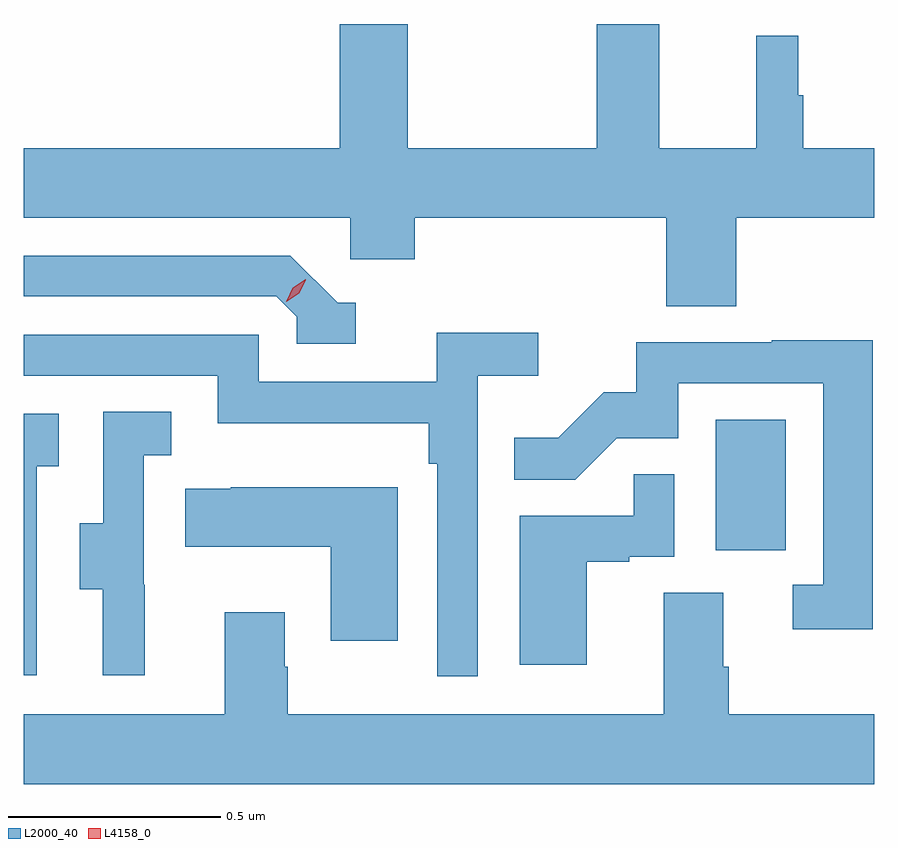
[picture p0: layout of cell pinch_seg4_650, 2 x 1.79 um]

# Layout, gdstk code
import gdstk
lib = gdstk.Library(unit=1e-6, precision=1e-09)
def R(c, l, rs):  # rectangles x0, y0, x1, y1
    for r in rs: c.add(gdstk.rectangle(r[:2], r[2:], *l))
def P(c, l, *ps):  # polygons
    for p in ps: c.add(gdstk.Polygon(p, *l))
L2000_40 = (2000, 40)
L4158_0 = (4158, 0)

pinch_seg4_650 = lib.new_cell('pinch_seg4_650')
R(pinch_seg4_650, L2000_40, [(1075.118,753.414,1075.282,753.721)])
P(pinch_seg4_650, L2000_40, [(1075.166,754.196),(1075.49,754.196),(1075.49,754.36),(1075.324,754.36),(1075.324,754.484),(1075.312,754.484),(1075.312,754.624),(1075.213,754.624),(1075.213,754.36),(1074.985,754.36),(1074.985,754.652),(1074.838,754.652),(1074.838,754.36),(1074.393,754.36),(1074.393,754.652),(1074.233,754.652),(1074.233,754.36),(1073.49,754.36),(1073.49,754.196),(1074.258,754.196),(1074.258,754.098),(1074.41,754.098),(1074.41,754.196),(1075.001,754.196),(1075.001,753.988),(1075.166,753.988)],
  [(1074.271,753.996),(1074.228,753.996),(1074.117,754.107),(1073.49,754.107),(1073.49,754.011),(1074.084,754.011),(1074.132,753.963),(1074.132,753.9),(1074.271,753.9)],
  [(1074.558,753.824),(1074.7,753.824),(1074.7,753.926),(1074.461,753.926),(1074.461,753.81),(1074.042,753.81),(1074.042,753.921),(1073.49,753.921),(1073.49,753.825),(1073.946,753.825),(1073.946,753.713),(1074.442,753.713),(1074.442,753.617),(1074.462,753.617),(1074.462,753.117),(1074.558,753.117)],
  [(1075.487,753.908),(1075.249,753.908),(1075.249,753.903),(1074.931,753.903),(1074.931,753.786),(1074.854,753.786),(1074.747,753.679),(1074.643,753.679),(1074.643,753.58),(1074.787,753.58),(1074.885,753.678),(1075.029,753.678),(1075.029,753.807),(1075.371,753.807),(1075.371,753.333),(1075.299,753.333),(1075.299,753.228),(1075.487,753.228)],
  [(1073.774,753.333),(1073.772,753.333),(1073.772,753.637),(1073.836,753.637),(1073.836,753.74),(1073.676,753.74),(1073.676,753.477),(1073.621,753.477),(1073.621,753.322),(1073.675,753.322),(1073.675,753.12),(1073.774,753.12)],
  [(1073.52,753.611),(1073.572,753.611),(1073.572,753.735),(1073.49,753.735),(1073.49,753.12),(1073.52,753.12)],
  [(1074.814,753.387),(1074.914,753.387),(1074.914,753.399),(1075.02,753.399),(1075.02,753.593),(1074.925,753.593),(1074.925,753.495),(1074.656,753.495),(1074.656,753.144),(1074.814,753.144)],
  [(1074.37,753.562),(1073.977,753.562),(1073.977,753.559),(1073.869,753.559),(1073.869,753.422),(1074.212,753.422),(1074.212,753.201),(1074.37,753.201)],
  [(1075.49,753.028),(1075.148,753.028),(1075.148,753.14),(1075.135,753.14),(1075.135,753.314),(1074.995,753.314),(1074.995,753.028),(1074.111,753.028),(1074.111,753.14),(1074.103,753.14),(1074.103,753.268),(1073.963,753.268),(1073.963,753.028),(1073.49,753.028),(1073.49,752.864),(1075.49,752.864)])
P(pinch_seg4_650, L4158_0, [(1074.107,753.998),(1074.107,753.998),(1074.122,754.031),(1074.153,754.051),(1074.153,754.051),(1074.153,754.05),(1074.138,754.018),(1074.107,753.998)])

lib.write_gds('pinch_seg4_650.gds')
